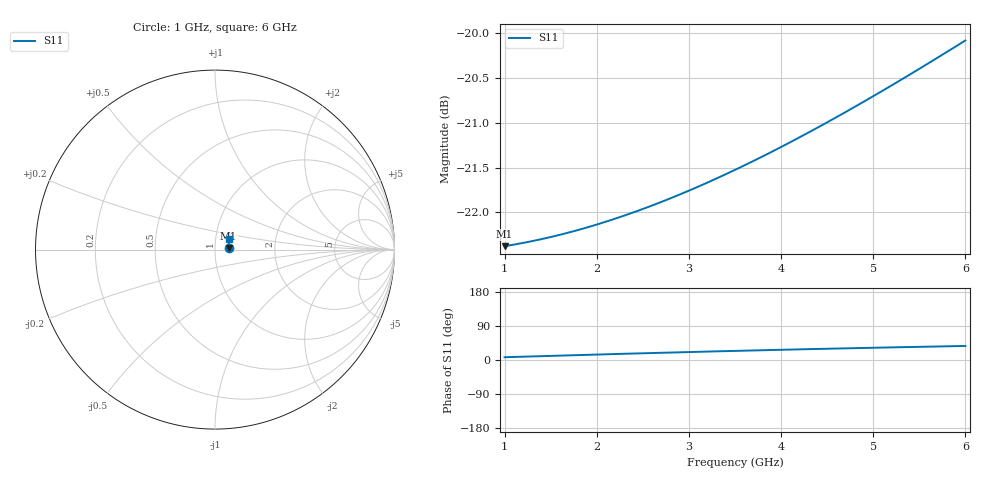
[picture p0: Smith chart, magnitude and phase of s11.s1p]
! openEMS, diamant_uwb; voir simulation_manifest.json
# Hz S RI R 50
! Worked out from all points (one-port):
!   201 points, 1 GHz to 6 GHz, reference 50 ohm
!   lowest |S11| = -22.4 dB at 1 GHz (marker M1), VSWR 1.16, Z = 58.1 + j1.14 ohm
!   |S11| at or under -10 dB: start of sweep to end of sweep
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1e9  0.0754 0.0097
1.15e9  0.0755 0.0112
1.3e9  0.0755 0.0126
1.45e9  0.0755 0.0141
1.625e9  0.0756 0.0158
1.775e9  0.0757 0.0173
1.925e9  0.0757 0.0187
2.075e9  0.0758 0.0202
2.25e9  0.0759 0.0219
2.4e9  0.0759 0.0234
2.55e9  0.076 0.0248
2.7e9  0.0761 0.0263
2.875e9  0.0762 0.028
3.025e9  0.0763 0.0295
3.175e9  0.0764 0.031
3.325e9  0.0765 0.0325
3.5e9  0.0766 0.0342
3.65e9  0.0767 0.0357
3.8e9  0.0768 0.0372
3.95e9  0.0769 0.0387
4.125e9  0.0771 0.0405
4.425e9  0.0774 0.0435
4.575e9  0.0775 0.045
4.75e9  0.0777 0.0468
5.05e9  0.078 0.0499
5.375e9  0.0783 0.0532
5.675e9  0.0787 0.0563
6e9  0.0791 0.0597
